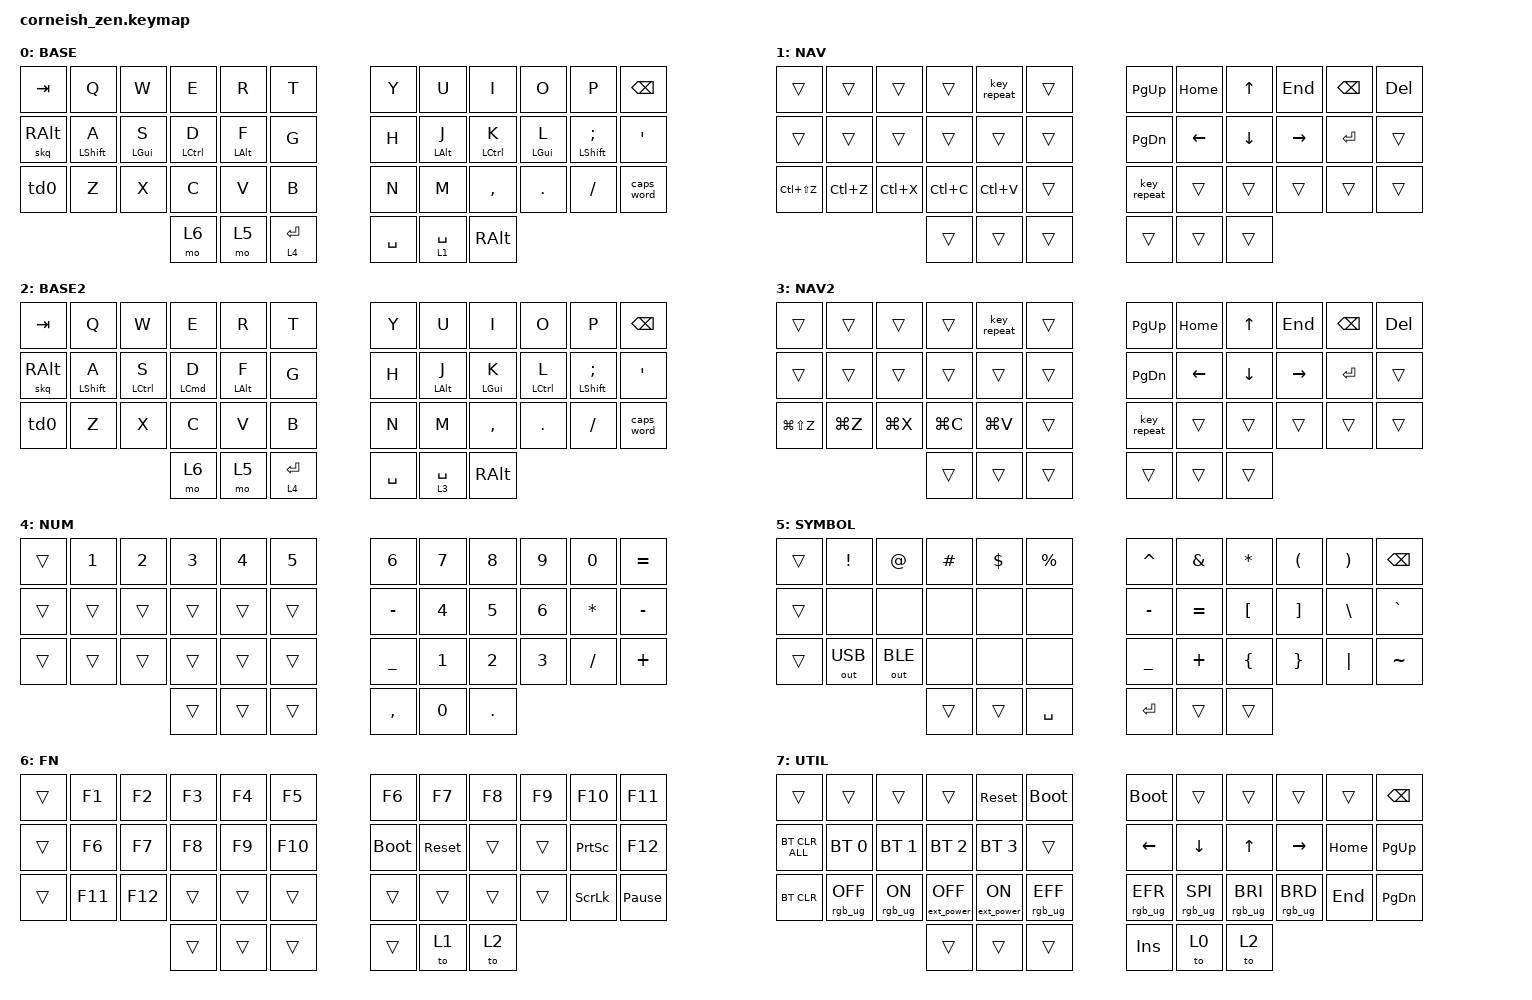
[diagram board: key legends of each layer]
/*
 * Copyright (c) 2020 The ZMK Contributors
 *
 * SPDX-License-Identifier: MIT
 */

#include <behaviors.dtsi>
#include <dt-bindings/zmk/bt.h>
#include <dt-bindings/zmk/ext_power.h>
#include <dt-bindings/zmk/keys.h>
#include <dt-bindings/zmk/outputs.h>
#include <dt-bindings/zmk/rgb.h>

/ {
    chosen {
        zmk,matrix_transform = &default_transform;

        // zmk,matrix_transform = &five_column_transform;
    };
};


/ {
    behaviors {
        td0: td0 {
            compatible = "zmk,behavior-tap-dance";
            label = "TD0";
            #binding-cells = <0>;
            tapping-term-ms = <200>;
            bindings = <&kp LEFT_SHIFT>, <&kp CAPS>;
        };

        bhm: balanced_homerow_mods {
            compatible = "zmk,behavior-hold-tap";
            #binding-cells = <2>;
            tapping-term-ms = <200>;
            quick-tap-ms = <0>;
            flavor = "balanced";
            bindings = <&kp>, <&kp>;
        };

        skq: sticky_key_quick_release {
            compatible = "zmk,behavior-sticky-key";
            #binding-cells = <1>;
            bindings = <&kp>;
            release-after-ms = <2000>;
            quick-release;
            ignore-modifiers;
        };
    };

    combos {
        compatible = "zmk,combos";

        escape {
            bindings = <&kp ESCAPE>;
            key-positions = <0 1>;
        };

        enter {
            bindings = <&kp ENTER>;
            key-positions = <22 23>;
        };

        alt_enter {
            bindings = <&kp ENTER>;
            key-positions = <22 21>;
        };
    };

    keymap {
        compatible = "zmk,keymap";

        default_layer {
            display-name = "BASE";

            // --------------------------------------------------------------------------------
            // |  TAB |  Q  |  W  |  E  |  R  |  T  |   |  Y  |  U   |  I  |  O  |  P  | BKSP |
            // | CTRL |  A  |  S  |  D  |  F  |  G  |   |  H  |  J   |  K  |  L  |  ;  |  '   | 
            // | SHFT |  Z  |  X  |  C  |  V  |  B  |   |  N  |  M   |  ,  |  .  |  /  | ESC  |
            //                    | GUI | LWR | SPC |   | ENT | RSE  | ALT |

            bindings = <
&kp TAB   &kp Q          &kp W        &kp E                &kp R        &kp T          &kp Y       &kp U        &kp I                &kp O        &kp P             &kp BSPC
&skq RALT  &bhm LSHIFT A  &bhm LGUI S  &bhm LEFT_CONTROL D  &bhm LALT F  &kp G          &kp H       &bhm LALT J  &bhm LEFT_CONTROL K  &bhm LGUI L  &bhm LSHIFT SEMI  &kp SQT
&td0      &kp Z          &kp X        &kp C                &kp V        &kp B          &kp N       &kp M        &kp COMMA            &kp DOT      &kp FSLH          &caps_word
                                      &mo 6                &mo 5        &lt 4 ENTER    &kp SPACE   &lt 1 SPACE  &kp RALT
            >;
        };

        nav_layer {
            display-name = "NAV";

            // --------------------------------------------------------------------------------
            // |  TAB |  Q  |  W  |  E  |  R  |  T  |   |  Y  |  U   |  I  |  O  |  P  | BKSP |
            // | CTRL |  A  |  S  |  D  |  F  |  G  |   |  H  |  J   |  K  |  L  |  ;  |  '   | 
            // | SHFT |  Z  |  X  |  C  |  V  |  B  |   |  N  |  M   |  ,  |  .  |  /  | ESC  |
            //                    | GUI | LWR | SPC |   | ENT | RSE  | ALT |

            bindings = <
&trans          &trans     &trans     &trans     &key_repeat  &trans    &kp PG_UP    &kp HOME  &kp UP    &kp END    &kp BSPC   &kp DEL
&trans          &trans     &trans     &trans     &trans       &trans    &kp PG_DN    &kp LEFT  &kp DOWN  &kp RIGHT  &kp ENTER  &trans
&kp LC(LS(Z))   &kp LC(Z)  &kp LC(X)  &kp LC(C)  &kp LC(V)    &trans    &key_repeat  &trans    &trans    &trans     &trans     &trans
                              &trans     &trans       &trans    &trans       &trans    &trans
            >;
        };

        mac_base_layer {
            display-name = "BASE2";

            // --------------------------------------------------------------------------------
            // |  TAB |  Q  |  W  |  E  |  R  |  T  |   |  Y  |  U   |  I  |  O  |  P  | BKSP |
            // | CTRL |  A  |  S  |  D  |  F  |  G  |   |  H  |  J   |  K  |  L  |  ;  |  '   | 
            // | SHFT |  Z  |  X  |  C  |  V  |  B  |   |  N  |  M   |  ,  |  .  |  /  | ESC  |
            //                    | GUI | LWR | SPC |   | ENT | RSE  | ALT |

            bindings = <
&kp TAB   &kp Q          &kp W                &kp E                &kp R        &kp T          &kp Y       &kp U        &kp I            &kp O                &kp P             &kp BSPC
&skq RALT  &bhm LSHIFT A  &bhm LEFT_CONTROL S  &bhm LEFT_COMMAND D  &bhm LALT F  &kp G          &kp H       &bhm LALT J  &bhm LEFT_GUI K  &bhm LEFT_CONTROL L  &bhm LSHIFT SEMI  &kp SQT
&td0      &kp Z          &kp X                &kp C                &kp V        &kp B          &kp N       &kp M        &kp COMMA        &kp DOT              &kp FSLH          &caps_word
                                              &mo 6                &mo 5        &lt 4 ENTER    &kp SPACE   &lt 3 SPACE  &kp RALT
            >;
        };

        mac_nav_layer {
            display-name = "NAV2";

            // --------------------------------------------------------------------------------
            // |  TAB |  Q  |  W  |  E  |  R  |  T  |   |  Y  |  U   |  I  |  O  |  P  | BKSP |
            // | CTRL |  A  |  S  |  D  |  F  |  G  |   |  H  |  J   |  K  |  L  |  ;  |  '   | 
            // | SHFT |  Z  |  X  |  C  |  V  |  B  |   |  N  |  M   |  ,  |  .  |  /  | ESC  |
            //                    | GUI | LWR | SPC |   | ENT | RSE  | ALT |

            bindings = <
&trans          &trans     &trans     &trans     &key_repeat  &trans    &kp PG_UP    &kp HOME  &kp UP    &kp END    &kp BSPC   &kp DEL
&trans          &trans     &trans     &trans     &trans       &trans    &kp PG_DN    &kp LEFT  &kp DOWN  &kp RIGHT  &kp ENTER  &trans
&kp LG(LS(Z))   &kp LG(Z)  &kp LG(X)  &kp LG(C)  &kp LG(V)    &trans    &key_repeat  &trans    &trans    &trans     &trans     &trans
                              &trans     &trans       &trans    &trans       &trans    &trans
            >;
        };

        num_layer {
            display-name = "NUM";
            bindings = <
&trans  &kp N1  &kp N2  &kp N3  &kp N4  &kp N5    &kp N6     &kp N7   &kp N8  &kp N9  &kp N0     &kp EQUAL
&trans  &trans  &trans  &trans  &trans  &trans    &kp MINUS  &kp N4   &kp N5  &kp N6  &kp ASTRK  &kp MINUS
&trans  &trans  &trans  &trans  &trans  &trans    &kp UNDER  &kp N1   &kp N2  &kp N3  &kp SLASH  &kp PLUS
                        &trans  &trans  &trans    &kp COMMA  &kp N0  &kp DOT
            >;
        };

        symbol_layer {
            display-name = "SYMBOL";

            // -----------------------------------------------------------------------------------------
            // |  TAB |  !  |  @  |  #  |  $  |  %  |   |  ^  |  &  |  *  |  (  |  )  | BKSP |
            // | CTRL |     |     |     |     |     |   |  -  |  =  |  [  |  ]  |  \  |  `   |
            // | SHFT |     |     |     |     |     |   |  _  |  +  |  {  |  }  | "|" |  ~   |
            //                    | GUI |     | SPC |   | ENT |     | ALT |

            bindings = <
&trans  &kp EXCL      &kp AT        &kp HASH  &kp DLLR  &kp PRCNT    &kp CARET  &kp AMPS   &kp ASTRK  &kp LPAR  &kp RPAR  &kp BSPC
&trans  &none         &none         &none     &none     &none        &kp MINUS  &kp EQUAL  &kp LBKT   &kp RBKT  &kp BSLH  &kp GRAVE
&trans  &out OUT_USB  &out OUT_BLE  &none     &none     &none        &kp UNDER  &kp PLUS   &kp LBRC   &kp RBRC  &kp PIPE  &kp TILDE
                                    &trans    &trans    &kp SPACE    &kp RET    &trans     &trans
            >;
        };

        fn_layer {
            display-name = "FN";
            bindings = <
&trans  &kp F1   &kp F2   &kp F3  &kp F4  &kp F5     &kp F6       &kp F7      &kp F8  &kp F9  &kp F10          &kp F11
&trans  &kp F6   &kp F7   &kp F8  &kp F9  &kp F10    &bootloader  &sys_reset  &trans  &trans  &kp PRINTSCREEN  &kp F12
&trans  &kp F11  &kp F12  &trans  &trans  &trans     &trans       &trans      &trans  &trans  &kp SCROLLLOCK   &kp PAUSE_BREAK
                          &trans  &trans  &trans     &trans       &to 1       &to 2
            >;
        };

        util_layer {
            display-name = "UTIL";

            // -----------------------------------------------------------------------------------------
            // |  TAB |  1  |  2  |  3  |  4  |  5  |   |  6  |  7  |  8  |  9  |  0  | BKSP |
            // | BTCLR| BT1 | BT2 | BT3 | BT4 | BT5 |   | LFT | DWN |  UP | RGT |     |      |
            // | SHFT |     |     |     |     |     |   |     |     |     |     |     |      |
            //                    | GUI |     | SPC |   | ENT |     | ALT |

            bindings = <
&trans           &trans           &trans          &trans             &sys_reset        &bootloader        &bootloader      &trans           &trans           &trans           &trans    &kp BSPC
&bt BT_CLR_ALL   &bt BT_SEL 0     &bt BT_SEL 1    &bt BT_SEL 2       &bt BT_SEL 3      &trans             &kp LEFT         &kp DOWN         &kp UP           &kp RIGHT        &kp HOME  &kp PG_UP
&bt BT_CLR       &rgb_ug RGB_OFF  &rgb_ug RGB_ON  &ext_power EP_OFF  &ext_power EP_ON  &rgb_ug RGB_EFF    &rgb_ug RGB_EFR  &rgb_ug RGB_SPI  &rgb_ug RGB_BRI  &rgb_ug RGB_BRD  &kp END   &kp PG_DN
                                         &trans             &trans            &trans             &kp INS          &to 0          &to 2
            >;
        };
    };

    conditional_layers {
        compatible = "zmk,conditional-layers";

        util-layer {
            if-layers = <5 6>;
            then-layer = <7>;
        };
    };
};
